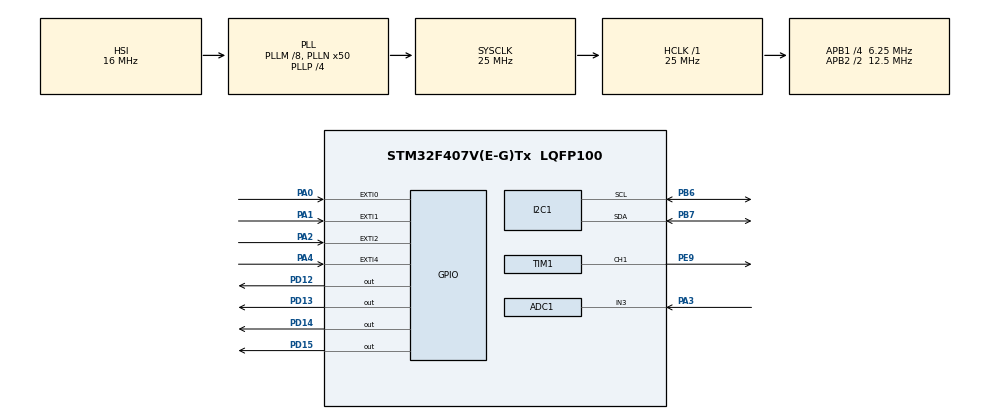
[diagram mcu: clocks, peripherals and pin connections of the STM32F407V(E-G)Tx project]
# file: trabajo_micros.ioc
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Mcu.Family=STM32F4
PH0-OSC_IN.Signal=RCC_OSC_IN
RCC.CortexFreq_Value=25000000
ADC1.Rank-0\#ChannelRegularConversion=1
ADC1.ContinuousConvMode=ENABLE
TIM1.Pulse-PWM\ Generation1\ CH1=50
RCC.APB1CLKDivider=RCC_HCLK_DIV4
RCC.SYSCLKSource=RCC_SYSCLKSOURCE_PLLCLK
ProjectManager.StackSize=0x400
PA0-WKUP.Signal=GPXTI0
PD13.Signal=GPIO_Output
TIM1.Prescaler=160
SH.S_TIM1_CH1.0=TIM1_CH1,PWM Generation1 CH1
ProjectManager.TargetToolchain=STM32CubeIDE
RCC.HCLKFreq_Value=25000000
SH.ADCx_IN3.0=ADC1_IN3,IN3
ADC1.Resolution=ADC_RESOLUTION_10B
RCC.APB2TimFreq_Value=25000000
PB6.Signal=I2C1_SCL
PB6.Mode=I2C
RCC.LSE_VALUE=32768
PA1.Signal=GPXTI1
RCC.AHBFreq_Value=25000000
PH0-OSC_IN.Mode=HSE-External-Oscillator
ADC1.Channel-0\#ChannelRegularConversion=ADC_CHANNEL_3
RCC.HSE_VALUE=8000000
board=STM32F407G-DISC1
RCC.VCOOutputFreq_Value=100000000
RCC.APB2Freq_Value=12500000
TIM1.Channel-PWM\ Generation1\ CH1=TIM_CHANNEL_1
PE9.Signal=S_TIM1_CH1
PH1-OSC_OUT.Signal=RCC_OSC_OUT
PB7.Signal=I2C1_SDA
Mcu.Name=STM32F407V(E-G)Tx
VP_TIM1_VS_ClockSourceINT.Mode=Internal
ADC1.SamplingTime-0\#ChannelRegularConversion=ADC_SAMPLETIME_3CYCLES
PA2.Signal=GPXTI2
PD14.Signal=GPIO_Output
PH1-OSC_OUT.Mode=HSE-External-Oscillator
RCC.48MHZClocksFreq_Value=14285714.285714285
PA4.Signal=GPXTI4
RCC.SYSCLKFreq_VALUE=25000000
Mcu.Package=LQFP100
ADC1.master=1
PD12.Signal=GPIO_Output
PB7.Mode=I2C
ProjectManager.HeapSize=0x200
RCC.HSI_VALUE=16000000
RCC.PLLP=RCC_PLLP_DIV4
RCC.PLLQ=7
NVIC.PriorityGroup=NVIC_PRIORITYGROUP_0
ADC1.NbrOfConversionFlag=1
RCC.APB2CLKDivider=RCC_HCLK_DIV2
RCC.PLLM=8
RCC.PLLN=50
RCC.APB1TimFreq_Value=12500000
TIM1.Period=2000
RCC.APB1Freq_Value=6250000
PD15.Signal=GPIO_Output
PA3.Signal=ADCx_IN3

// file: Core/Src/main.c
/* USER CODE BEGIN Header */
/**
  ******************************************************************************
  * @file           : main.c
  * @brief          : Main program body
  ******************************************************************************
  * @attention
  *
  * <h2><center>&copy; Copyright (c) 2022 STMicroelectronics.
  * All rights reserved.</center></h2>
  *
  * This software component is licensed by ST under BSD 3-Clause license,
  * the "License"; You may not use this file except in compliance with the
  * License. You may obtain a copy of the License at:
  *                        opensource.org/licenses/BSD-3-Clause
  *
  ******************************************************************************
  */
/* USER CODE END Header */
#include "main.h"

/* USER CODE BEGIN PD */
#define UMBRAL_LUMINOSIDAD (100)
/* USER CODE END PD */

ADC_HandleTypeDef hadc1;

I2C_HandleTypeDef hi2c1;

TIM_HandleTypeDef htim1;

/* USER CODE BEGIN PV */
volatile int manual = 0;
volatile int automatico=0;
volatile int subirpersiana = 0;
volatile int bajarpersiana = 0;
int adc_val_luminosidad=0;
/* USER CODE END PV */

void SystemClock_Config(void);
static void MX_GPIO_Init(void);
static void MX_ADC1_Init(void);
static void MX_TIM1_Init(void);
static void MX_I2C1_Init(void);
/* USER CODE BEGIN PFP */
void subirpersiana();
void bajarpersiana();
void servo_write(int);
void servo_sweep(void);
int map(int, int, int, int, int);

/* USER CODE END PFP */

/* USER CODE BEGIN 0 */
void HAL_GPIO_EXTI_Callback(uint16_t GPIO_Pin)		//gestion de las interrupciones
{
	if (GPIO_Pin==GPIO_PIN_0)		//selecciono el modo automático
	{
		if (!subir && !bajar)
		{
		  automatico  = 1;
		  manual = 0;
		  bajar=0;
		  subir=0;
		}
	}
	else if(GPIO_Pin==GPIO_PIN_1)		//selecciono el modo manual
	{
		if (!bajar && !subir)
		{
			automatico  = 0;
			manual = 1;
			bajar=0;
			subir=0;
		}
	}
	else if(GPIO_Pin==GPIO_PIN_2)		//gestiono el boton externo de bajar la persiana
  {
		if (manual)
		{
			if (!bajar && !subir)
					{
						automatico  = 0;
						manual = 1;
						bajar=1;
						subir=0;
					}
	}
}
	else if(GPIO_Pin==GPIO_PIN_4)    //gestiono el boton externo de subir la persiana
	{
			if (manual)
			{
				if (!bajar && !subir)
						{
							automatico  = 0;
							manual = 1;
							bajar=0;
							subir=1;
						}
		}
	}

void servo_write(int angle)
	{
		htim1.Instance->CCR1 = map(0,180,50,250,angle);
	}

void servo_girar(void)
	{
			for(int i = 0; i <= 100; i++)
			{
				servo_write(i);
				HAL_Delay(10);
			}
			for(int i = 100; i >= 0; i--)
			{
				servo_write(i);
				HAL_Delay(10);
			}
	}

int map(int st1, int fn1, int st2, int fn2, int value)
	{
	    return (1.0*(value-st1))/((fn1-st1)*1.0) * (fn2-st2)+st2;
	}

void subirpersiana(){
	lcd_clear();
	servo_girar();
	HAL_Delay(500);
	HAL_GPIO_WritePin(GPIOD, GPIO_PIN_14, GPIO_PIN_RESET); //led que simboliza la persiana se apaga una vez se sube
	HAL_Delay(200);
	lcd_send_string("SUBIDA");
	subir=0;
}

void bajarpersiana(){
	lcd_clear();
	servo_girar();
	HAL_Delay(500);
	HAL_GPIO_WritePin(GPIOD, GPIO_PIN_15, GPIO_PIN_SET);
	HAL_Delay(200);
	lcd_send_string("BAJADA");
	bajar=0;
	}
void servo_write(int angle)
{
	htim1.Instance->CCR1 = map(0,180,50,250,angle);
}

void servo_girar(void)
{
		for(int i = 0; i <= 100; i++)
		{
			servo_write(i);
			HAL_Delay(10);
		}
		for(int i = 100; i >= 0; i--)
		{
			servo_write(i);
			HAL_Delay(10);
		}
}

int map(int st1, int fn1, int st2, int fn2, int value)
{
    return (1.0*(value-st1))/((fn1-st1)*1.0) * (fn2-st2)+st2;
}

/* USER CODE END 0 */

int main(void)
{

  /* MCU Configuration--------------------------------------------------------*/

  /* Reset of all peripherals, Initializes the Flash interface and the Systick. */
  HAL_Init();

  /* Configure the system clock */
  SystemClock_Config();

  /* Initialize all configured peripherals */
  MX_GPIO_Init();
  MX_ADC1_Init();
  MX_TIM1_Init();
  MX_I2C1_Init();
  /* USER CODE BEGIN 2 */
  lcd_init();
  lcd_send_string("HOLA");

  /* USER CODE END 2 */

  /* Infinite loop */
  /* USER CODE BEGIN WHILE */
  while (1)
  {
	  if (manual)
	  {
		  if (subir)
		  subirpersiana();
		  if (bajar)
		  bajarpersiana();
		}

	  if (automatico)  //Automatico
	  		{
		   HAL_ADC_Start(&hadc1);
	  	   if (HAL_ADC_PollForConversion(&hadc1, 1000) == HAL_OK)
	  	   adc_val_luminosidad=HAL_ADC_GetValue(&hadc1);
	  	   HAL_ADC_Stop(&hadc1);

	  	   if (adc_val_luminosidad < UMBRAL_LUMINOSIDAD)
	  		  {
	  		 subirpersiana();
	  		  }
	  	   if (adc_val_luminosidad > UMBRAL_LUMINOSIDAD)
	  		   {
	  		 bajarpersiana();
	  		   }
	  		}

	    }

    /* USER CODE END WHILE */

  }
}

void SystemClock_Config(void)
{
  RCC_OscInitTypeDef RCC_OscInitStruct = {0};
  RCC_ClkInitTypeDef RCC_ClkInitStruct = {0};

  /** Configure the main internal regulator output voltage
  */
  __HAL_RCC_PWR_CLK_ENABLE();
  __HAL_PWR_VOLTAGESCALING_CONFIG(PWR_REGULATOR_VOLTAGE_SCALE1);
  /** Initializes the RCC Oscillators according to the specified parameters
  * in the RCC_OscInitTypeDef structure.
  */
  RCC_OscInitStruct.OscillatorType = RCC_OSCILLATORTYPE_HSI;
  RCC_OscInitStruct.HSIState = RCC_HSI_ON;
  RCC_OscInitStruct.HSICalibrationValue = RCC_HSICALIBRATION_DEFAULT;
  RCC_OscInitStruct.PLL.PLLState = RCC_PLL_ON;
  RCC_OscInitStruct.PLL.PLLSource = RCC_PLLSOURCE_HSI;
  RCC_OscInitStruct.PLL.PLLM = 8;
  RCC_OscInitStruct.PLL.PLLN = 50;
  RCC_OscInitStruct.PLL.PLLP = RCC_PLLP_DIV4;
  RCC_OscInitStruct.PLL.PLLQ = 7;
  if (HAL_RCC_OscConfig(&RCC_OscInitStruct) != HAL_OK)
  {
    Error_Handler();
  }
  /** Initializes the CPU, AHB and APB buses clocks
  */
  RCC_ClkInitStruct.ClockType = RCC_CLOCKTYPE_HCLK|RCC_CLOCKTYPE_SYSCLK
                              |RCC_CLOCKTYPE_PCLK1|RCC_CLOCKTYPE_PCLK2;
  RCC_ClkInitStruct.SYSCLKSource = RCC_SYSCLKSOURCE_PLLCLK;
  RCC_ClkInitStruct.AHBCLKDivider = RCC_SYSCLK_DIV1;
  RCC_ClkInitStruct.APB1CLKDivider = RCC_HCLK_DIV4;
  RCC_ClkInitStruct.APB2CLKDivider = RCC_HCLK_DIV2;

  if (HAL_RCC_ClockConfig(&RCC_ClkInitStruct, FLASH_LATENCY_0) != HAL_OK)
  {
    Error_Handler();
  }
}

static void MX_ADC1_Init(void)
{

  ADC_ChannelConfTypeDef sConfig = {0};

  /** Configure the global features of the ADC (Clock, Resolution, Data Alignment and number of conversion)
  */
  hadc1.Instance = ADC1;
  hadc1.Init.ClockPrescaler = ADC_CLOCK_SYNC_PCLK_DIV2;
  hadc1.Init.Resolution = ADC_RESOLUTION_10B;
  hadc1.Init.ScanConvMode = DISABLE;
  hadc1.Init.ContinuousConvMode = ENABLE;
  hadc1.Init.DiscontinuousConvMode = DISABLE;
  hadc1.Init.ExternalTrigConvEdge = ADC_EXTERNALTRIGCONVEDGE_NONE;
  hadc1.Init.ExternalTrigConv = ADC_SOFTWARE_START;
  hadc1.Init.DataAlign = ADC_DATAALIGN_RIGHT;
  hadc1.Init.NbrOfConversion = 1;
  hadc1.Init.DMAContinuousRequests = DISABLE;
  hadc1.Init.EOCSelection = ADC_EOC_SINGLE_CONV;
  if (HAL_ADC_Init(&hadc1) != HAL_OK)
  {
    Error_Handler();
  }
  /** Configure for the selected ADC regular channel its corresponding rank in the sequencer and its sample time.
  */
  sConfig.Channel = ADC_CHANNEL_3;
  sConfig.Rank = 1;
  sConfig.SamplingTime = ADC_SAMPLETIME_3CYCLES;
  if (HAL_ADC_ConfigChannel(&hadc1, &sConfig) != HAL_OK)
  {
    Error_Handler();
  }

}

static void MX_I2C1_Init(void)
{

  hi2c1.Instance = I2C1;
  hi2c1.Init.ClockSpeed = 100000;
  hi2c1.Init.DutyCycle = I2C_DUTYCYCLE_2;
  hi2c1.Init.OwnAddress1 = 0;
  hi2c1.Init.AddressingMode = I2C_ADDRESSINGMODE_7BIT;
  hi2c1.Init.DualAddressMode = I2C_DUALADDRESS_DISABLE;
  hi2c1.Init.OwnAddress2 = 0;
  hi2c1.Init.GeneralCallMode = I2C_GENERALCALL_DISABLE;
  hi2c1.Init.NoStretchMode = I2C_NOSTRETCH_DISABLE;
  if (HAL_I2C_Init(&hi2c1) != HAL_OK)
  {
    Error_Handler();
  }

}

static void MX_TIM1_Init(void)
{

  TIM_ClockConfigTypeDef sClockSourceConfig = {0};
  TIM_MasterConfigTypeDef sMasterConfig = {0};
  TIM_OC_InitTypeDef sConfigOC = {0};
  TIM_BreakDeadTimeConfigTypeDef sBreakDeadTimeConfig = {0};

  htim1.Instance = TIM1;
  htim1.Init.Prescaler = 160;
  htim1.Init.CounterMode = TIM_COUNTERMODE_UP;
  htim1.Init.Period = 2000;
  htim1.Init.ClockDivision = TIM_CLOCKDIVISION_DIV1;
  htim1.Init.RepetitionCounter = 0;
  htim1.Init.AutoReloadPreload = TIM_AUTORELOAD_PRELOAD_DISABLE;
  if (HAL_TIM_Base_Init(&htim1) != HAL_OK)
  {
    Error_Handler();
  }
  sClockSourceConfig.ClockSource = TIM_CLOCKSOURCE_INTERNAL;
  if (HAL_TIM_ConfigClockSource(&htim1, &sClockSourceConfig) != HAL_OK)
  {
    Error_Handler();
  }
  if (HAL_TIM_PWM_Init(&htim1) != HAL_OK)
  {
    Error_Handler();
  }
  sMasterConfig.MasterOutputTrigger = TIM_TRGO_RESET;
  sMasterConfig.MasterSlaveMode = TIM_MASTERSLAVEMODE_DISABLE;
  if (HAL_TIMEx_MasterConfigSynchronization(&htim1, &sMasterConfig) != HAL_OK)
  {
    Error_Handler();
  }
  sConfigOC.OCMode = TIM_OCMODE_PWM1;
  sConfigOC.Pulse = 50;
  sConfigOC.OCPolarity = TIM_OCPOLARITY_HIGH;
  sConfigOC.OCNPolarity = TIM_OCNPOLARITY_HIGH;
  sConfigOC.OCFastMode = TIM_OCFAST_DISABLE;
  sConfigOC.OCIdleState = TIM_OCIDLESTATE_RESET;
  sConfigOC.OCNIdleState = TIM_OCNIDLESTATE_RESET;
  if (HAL_TIM_PWM_ConfigChannel(&htim1, &sConfigOC, TIM_CHANNEL_1) != HAL_OK)
  {
    Error_Handler();
  }
  sBreakDeadTimeConfig.OffStateRunMode = TIM_OSSR_DISABLE;
  sBreakDeadTimeConfig.OffStateIDLEMode = TIM_OSSI_DISABLE;
  sBreakDeadTimeConfig.LockLevel = TIM_LOCKLEVEL_OFF;
  sBreakDeadTimeConfig.DeadTime = 0;
  sBreakDeadTimeConfig.BreakState = TIM_BREAK_DISABLE;
  sBreakDeadTimeConfig.BreakPolarity = TIM_BREAKPOLARITY_HIGH;
  sBreakDeadTimeConfig.AutomaticOutput = TIM_AUTOMATICOUTPUT_DISABLE;
  if (HAL_TIMEx_ConfigBreakDeadTime(&htim1, &sBreakDeadTimeConfig) != HAL_OK)
  {
    Error_Handler();
  }
  HAL_TIM_MspPostInit(&htim1);

}

static void MX_GPIO_Init(void)
{
  GPIO_InitTypeDef GPIO_InitStruct = {0};

  /* GPIO Ports Clock Enable */
  __HAL_RCC_GPIOH_CLK_ENABLE();
  __HAL_RCC_GPIOA_CLK_ENABLE();
  __HAL_RCC_GPIOE_CLK_ENABLE();
  __HAL_RCC_GPIOD_CLK_ENABLE();
  __HAL_RCC_GPIOB_CLK_ENABLE();

  /*Configure GPIO pin Output Level */
  HAL_GPIO_WritePin(GPIOD, GPIO_PIN_12|GPIO_PIN_13|GPIO_PIN_14|GPIO_PIN_15, GPIO_PIN_RESET);

  /*Configure GPIO pins : PA0 PA1 PA2 PA4 */
  GPIO_InitStruct.Pin = GPIO_PIN_0|GPIO_PIN_1|GPIO_PIN_2|GPIO_PIN_4;
  GPIO_InitStruct.Mode = GPIO_MODE_IT_RISING;
  GPIO_InitStruct.Pull = GPIO_NOPULL;
  HAL_GPIO_Init(GPIOA, &GPIO_InitStruct);

  /*Configure GPIO pins : PD12 PD13 PD14 PD15 */
  GPIO_InitStruct.Pin = GPIO_PIN_12|GPIO_PIN_13|GPIO_PIN_14|GPIO_PIN_15;
  GPIO_InitStruct.Mode = GPIO_MODE_OUTPUT_PP;
  GPIO_InitStruct.Pull = GPIO_NOPULL;
  GPIO_InitStruct.Speed = GPIO_SPEED_FREQ_LOW;
  HAL_GPIO_Init(GPIOD, &GPIO_InitStruct);

}

void Error_Handler(void)
{
  __disable_irq();
  while (1)
  {
  }
}

/************************ (C) COPYRIGHT STMicroelectronics *****END OF FILE****/
